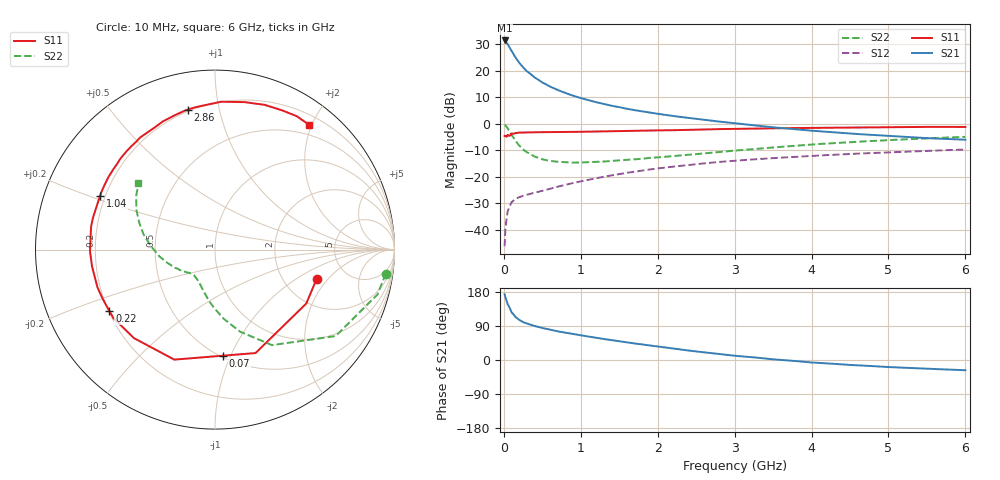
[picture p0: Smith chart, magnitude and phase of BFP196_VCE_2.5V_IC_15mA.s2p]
! Infineon Technologies  Discrete & RF Semiconductors
! BFP196
! VCE = 2.5 V,  IC =  15mA
! Common Emitter S-Parameters:  Jan 2016
# GHz  S  MA  R  50
!  f  S11  S21  S12  S22
! GHz  MAG  ANG  MAG  ANG  MAG  ANG  MAG  ANG
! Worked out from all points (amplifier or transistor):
!   210 points, 10 MHz to 6 GHz, reference 50 ohm
!   highest |S21| = 31.4 dB at 10 MHz (marker M1)
!   |S21| within 3 dB of that: start of sweep to 81.03 MHz
!   unconditionally stable (mu >= 1): 756 MHz to 3.455 GHz; 3.597 GHz to 3.863 GHz
!   at 185 MHz: K = 0.40, MSG = 25.8 dB, |S12| = -27.9 dB
!   at 1.52 GHz: K = 1.13, MAG = 10.3 dB, |S12| = -18.9 dB
!   at 6 GHz: K = 0.97, MSG = 1.9 dB, |S12| = -9.7 dB
!   S11 on the Smith chart (normalised r, x): 10 MHz: 3.06, -1.51; 70 MHz: 0.51, -0.94; 220 MHz: 0.20, -0.26; 1.04 GHz: 0.18, +0.21; 2.86 GHz: 0.19, +0.81; 6 GHz: 0.34, +1.96
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0.01  0.5897 -15.9  37.27 173.4  0.0049 84.6  0.9616 -8.0
0.02  0.5906 -30.6  35.82 165.3  0.0099 75.6  0.9386 -15.5
0.05  0.6191 -68.6  31.86 147.0  0.0223 62.6  0.8272 -35.6
0.07  0.5927 -85.7  28.19 140.1  0.0264 55.3  0.7302 -43.4
0.1  0.6535 -110.3  23.75 126.0  0.033 47.8  0.6196 -59.2
0.15  0.6687 -132.5  17.85 113.5  0.0383 40.2  0.4781 -73.0
0.2  0.6825 -146.0  14.16 105.6  0.0412 37.8  0.3879 -82.9
0.22  0.6804 -149.9  13.11 103.6  0.0422 37.5  0.3628 -85.7
0.26  0.6834 -157.0  11.2 99.2  0.044 37.2  0.3195 -91.6
0.3  0.6878 -162.1  9.785 95.9  0.0457 38.1  0.2905 -96.3
0.4  0.6914 -172.1  7.478 89.7  0.05 39.5  0.2405 -105.3
0.5  0.6965 -179.2  6.005 84.5  0.0545 41.9  0.2133 -112.3
0.7  0.7021 169.5  4.334 75.5  0.0649 45.5  0.1917 -121.9
1.02  0.7058 155.7  2.994 64.5  0.083 48.6  0.1863 -131.8
1.04  0.7066 155.0  2.94 63.9  0.0842 48.7  0.1868 -132.3
1.4  0.7217 142.1  2.188 52.5  0.1059 48.5  0.1985 -139.7
2.02  0.7511 123.2  1.526 35.2  0.1447 44.8  0.233 -152.7
2.86  0.7947 100.9  1.074 14.5  0.1934 36.3  0.2982 -170.2
3.1  0.8034 95.7  0.985 9.6  0.2056 33.3  0.319 -175.0
4.1  0.8396 77.2  0.722 -7.7  0.2514 22.1  0.4148 166.3
5.1  0.8626 63.1  0.58 -19.4  0.2924 10.9  0.499 151.5
6  0.8707 53.0  0.5 -27.0  0.3264 0.7  0.5656 138.9
